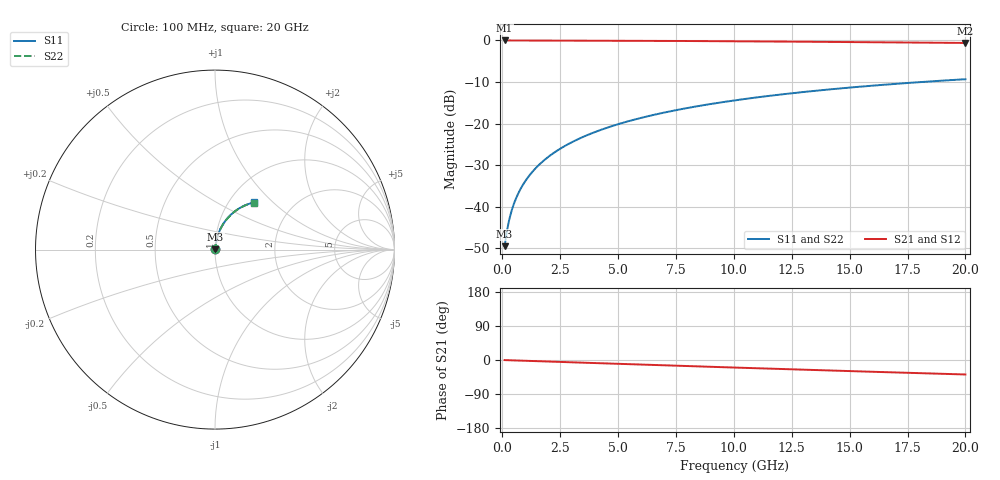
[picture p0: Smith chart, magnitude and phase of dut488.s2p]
! Touchstone file exported from HFSS 2026.1.0
!  File:  C:/ffzhzh/LocalFiles/Ansys_Project_Files/temp_train_TMRDL_488_1783006516_51716.aedt
!  Generated:  11:36:41 PM Jul  2, 2026
!  Design:  TMRDL
!  Project:  temp_train_TMRDL_488_1783006516_51716
! Variables:
!  h_bsmrdl = 2um
!  h_ox = 20um
!  h_rdl = 5um
!  h_sub = 80um
!  h_tmrdl = 3.1um
!  h_tsv = 80um
!  h_via = 3um
!  l_bsmrdl = 300um
!  l_sub = 946.14um
!  l_tmrdl = 546.14um
!  m_sub = 200um
!  pitch = 55.36um
!  r_tsv = 6um
!  s_tmrdl = 10um
!  w_bsmrdl = 18um
!  w_sub = 500um
!  w_tmrdl = 27.68um
!  x_tsv_center1 = 559.98um
!  x_tsv_center2 = 877.98um
!  x_tsv_center3 = 1451.8um
!  x_tsv_center4 = 1769.8um
!  x_tsv_center5 = 2343.62um
!  x_tsv_center6 = 2661.62um
# GHz S MA R 50.000000
! Terminal data exported
! Port[1] = TM_RDL1_1_T1
! Port[2] = TM_RDL1_1_T2
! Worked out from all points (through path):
!   200 points, 100 MHz to 20 GHz, reference 50 ohm
!   highest |S21| = -0.02 dB at 100 MHz (marker M1); lowest = -0.6 dB at 20 GHz (marker M2)
!   group delay of S21, straight-line fit = 5.31 ps
!   lowest |S11| = -49.5 dB at 100 MHz (marker M3), VSWR 1.01, Z = 50.3 + j0.222 ohm
!   |S11| at or under -10 dB: start of sweep to 18.13 GHz
!   |S22| runs from -49.5 to -9.3 dB; largest |S21 - S12| = 2.7e-15
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0.1  0.003361 41.1  0.9975 -0.2  0.9975 -0.2  0.003361 41.1
! Gamma 0 0 0 0
! Port Impedance 50 0 50 0
0.2  0.005115 58.2  0.9973 -0.4  0.9973 -0.4  0.005115 58.2
0.3  0.007017 65.6  0.9972 -0.6  0.9972 -0.6  0.007017 65.6
0.4  0.008929 69.8  0.997 -0.8  0.997 -0.8  0.008929 69.8
0.5  0.01084 72.6  0.9969 -1.0  0.9969 -1.0  0.01084 72.6
0.6  0.01275 74.5  0.9968 -1.2  0.9968 -1.2  0.01275 74.5
0.8  0.0166 77.1  0.9966 -1.6  0.9966 -1.6  0.0166 77.1
1.1  0.02242 79.2  0.9964 -2.3  0.9964 -2.3  0.02242 79.2
1.3  0.02632 79.9  0.9963 -2.7  0.9963 -2.7  0.02632 79.9
1.6  0.0322 80.5  0.996 -3.3  0.996 -3.3  0.0322 80.5
2.1  0.04201 80.8  0.9955 -4.3  0.9955 -4.3  0.04201 80.8
2.7  0.05377 80.5  0.9948 -5.5  0.9948 -5.5  0.05377 80.5
3.5  0.06937 79.6  0.9936 -7.1  0.9936 -7.1  0.06937 79.6
4.2  0.08292 78.6  0.9923 -8.5  0.9923 -8.5  0.08292 78.5
5  0.09825 77.2  0.9906 -10.1  0.9906 -10.1  0.09825 77.2
5.9  0.1153 75.7  0.9884 -11.9  0.9884 -11.9  0.1153 75.6
6.8  0.132 74.0  0.9859 -13.7  0.9859 -13.7  0.132 74.0
8.3  0.1594 71.3  0.9812 -16.6  0.9812 -16.6  0.1594 71.2
10.1  0.1911 67.9  0.9749 -20.1  0.9749 -20.1  0.1911 67.9
13.4  0.2459 61.9  0.9616 -26.3  0.9616 -26.3  0.2459 61.9
16.7  0.296 56.0  0.9467 -32.4  0.9467 -32.4  0.296 56.0
20  0.3412 50.3  0.931 -38.2  0.931 -38.2  0.3412 50.3
